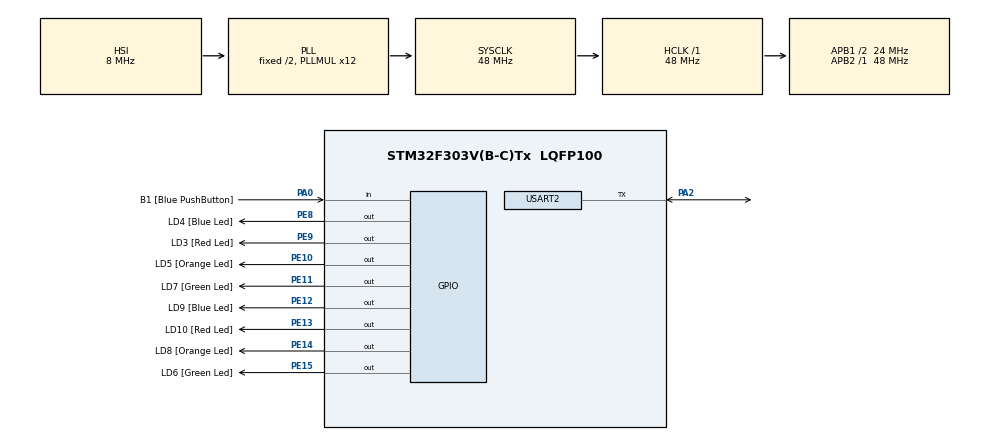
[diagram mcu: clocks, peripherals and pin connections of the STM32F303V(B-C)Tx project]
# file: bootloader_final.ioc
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Mcu.Family=STM32F3
Mcu.Name=STM32F303V(B-C)Tx
Mcu.Package=LQFP100
NVIC.PriorityGroup=NVIC_PRIORITYGROUP_0
NVIC.USART2_IRQn=true\:0\:0\:false\:false\:true\:true
PA0.GPIO_Label=B1 [Blue PushButton]
PA0.GPIO_Mode=GPIO_MODE_INPUT
PA0.GPIO_PuPd=GPIO_NOPULL
PA0.Signal=GPIO_Input
PA11.GPIO_Label=DM
PA11.Signal=USB_DM
PA12.GPIO_Label=DP
PA12.Signal=USB_DP
PA13.GPIO_Label=SWDIO
PA13.Signal=SYS_JTMS-SWDIO
PA14.GPIO_Label=SWCLK
PA14.Signal=SYS_JTCK-SWCLK
PA2.Mode=Half_duplex(single_wire_mode)
PA2.Signal=USART2_TX
PB3.GPIO_Label=SWO
PB3.Signal=SYS_JTDO-TRACESWO
PC14-OSC32_IN.GPIO_Label=OSC32_IN
PC14-OSC32_IN.Signal=RCC_OSC32_IN
PC15-OSC32_OUT.GPIO_Label=OSC32_OUT
PC15-OSC32_OUT.Signal=RCC_OSC32_OUT
PE10.GPIO_Label=LD5 [Orange Led]
PE10.GPIO_ModeDefaultOutputPP=GPIO_MODE_OUTPUT_PP
PE10.GPIO_PuPd=GPIO_NOPULL
PE10.GPIO_Speed=GPIO_SPEED_FREQ_LOW
PE10.Signal=GPIO_Output
PE11.GPIO_Label=LD7 [Green Led]
PE11.GPIO_ModeDefaultOutputPP=GPIO_MODE_OUTPUT_PP
PE11.GPIO_PuPd=GPIO_NOPULL
PE11.GPIO_Speed=GPIO_SPEED_FREQ_LOW
PE11.Signal=GPIO_Output
PE12.GPIO_Label=LD9 [Blue Led]
PE12.GPIO_ModeDefaultOutputPP=GPIO_MODE_OUTPUT_PP
PE12.GPIO_PuPd=GPIO_NOPULL
PE12.GPIO_Speed=GPIO_SPEED_FREQ_LOW
PE12.Signal=GPIO_Output
PE13.GPIO_Label=LD10 [Red Led]
PE13.GPIO_ModeDefaultOutputPP=GPIO_MODE_OUTPUT_PP
PE13.GPIO_PuPd=GPIO_NOPULL
PE13.GPIO_Speed=GPIO_SPEED_FREQ_LOW
PE13.Signal=GPIO_Output
PE14.GPIO_Label=LD8 [Orange Led]
PE14.GPIO_ModeDefaultOutputPP=GPIO_MODE_OUTPUT_PP
PE14.GPIO_PuPd=GPIO_NOPULL
PE14.GPIO_Speed=GPIO_SPEED_FREQ_LOW
PE14.Signal=GPIO_Output
PE15.GPIO_Label=LD6 [Green Led]
PE15.GPIO_ModeDefaultOutputPP=GPIO_MODE_OUTPUT_PP
PE15.GPIO_PuPd=GPIO_NOPULL
PE15.GPIO_Speed=GPIO_SPEED_FREQ_LOW
PE15.Signal=GPIO_Output
PE8.GPIO_Label=LD4 [Blue Led]
PE8.GPIO_ModeDefaultOutputPP=GPIO_MODE_OUTPUT_PP
PE8.GPIO_PuPd=GPIO_NOPULL
PE8.GPIO_Speed=GPIO_SPEED_FREQ_LOW
PE8.Signal=GPIO_Output
PE9.GPIO_Label=LD3 [Red Led]
PE9.GPIO_ModeDefaultOutputPP=GPIO_MODE_OUTPUT_PP
PE9.GPIO_PuPd=GPIO_NOPULL
PE9.GPIO_Speed=GPIO_SPEED_FREQ_LOW
PE9.Signal=GPIO_Output
PF0-OSC_IN.GPIO_Label=OSC_IN
PF0-OSC_IN.Signal=RCC_OSC_IN
PF1-OSC_OUT.GPIO_Label=OSC_OUT
PF1-OSC_OUT.Signal=RCC_OSC_OUT
ProjectManager.HeapSize=0x200
ProjectManager.StackSize=0x400
ProjectManager.TargetToolchain=SW4STM32
RCC.AHBFreq_Value=48000000
RCC.APB1CLKDivider=RCC_HCLK_DIV2
RCC.APB1Freq_Value=24000000
RCC.APB1TimFreq_Value=48000000
RCC.APB2Freq_Value=48000000
RCC.APB2TimFreq_Value=48000000
RCC.CortexFreq_Value=48000000
RCC.HCLKFreq_Value=48000000
RCC.HSE_VALUE=8000000
RCC.HSI_VALUE=8000000
RCC.LSE_VALUE=32768
RCC.PLLMUL=RCC_PLL_MUL12
RCC.SYSCLKFreq_VALUE=48000000
RCC.SYSCLKSourceVirtual=RCC_SYSCLKSOURCE_PLLCLK
RCC.USBFreq_Value=48000000
USART2.BaudRate=57600
USART2.VirtualMode-Half_duplex(single_wire_mode)=VM_ASYNC
board=STM32F3DISCOVERY

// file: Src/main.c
/**
  ******************************************************************************
  * @file           : main.c
  * @brief          : Main program body
  ******************************************************************************
  ** This notice applies to any and all portions of this file
  * that are not between comment pairs USER CODE BEGIN and
  * USER CODE END. Other portions of this file, whether
  * inserted by the user or by software development tools
  * are owned by their respective copyright owners.
  *
  * COPYRIGHT(c) 2018 STMicroelectronics
  *
  * Redistribution and use in source and binary forms, with or without modification,
  * are permitted provided that the following conditions are met:
  *   1. Redistributions of source code must retain the above copyright notice,
  *      this list of conditions and the following disclaimer.
  *   2. Redistributions in binary form must reproduce the above copyright notice,
  *      this list of conditions and the following disclaimer in the documentation
  *      and/or other materials provided with the distribution.
  *   3. Neither the name of STMicroelectronics nor the names of its contributors
  *      may be used to endorse or promote products derived from this software
  *      without specific prior written permission.
  *
  * THIS SOFTWARE IS PROVIDED BY THE COPYRIGHT HOLDERS AND CONTRIBUTORS "AS IS"
  * AND ANY EXPRESS OR IMPLIED WARRANTIES, INCLUDING, BUT NOT LIMITED TO, THE
  * IMPLIED WARRANTIES OF MERCHANTABILITY AND FITNESS FOR A PARTICULAR PURPOSE ARE
  * DISCLAIMED. IN NO EVENT SHALL THE COPYRIGHT HOLDER OR CONTRIBUTORS BE LIABLE
  * FOR ANY DIRECT, INDIRECT, INCIDENTAL, SPECIAL, EXEMPLARY, OR CONSEQUENTIAL
  * DAMAGES (INCLUDING, BUT NOT LIMITED TO, PROCUREMENT OF SUBSTITUTE GOODS OR
  * SERVICES; LOSS OF USE, DATA, OR PROFITS; OR BUSINESS INTERRUPTION) HOWEVER
  * CAUSED AND ON ANY THEORY OF LIABILITY, WHETHER IN CONTRACT, STRICT LIABILITY,
  * OR TORT (INCLUDING NEGLIGENCE OR OTHERWISE) ARISING IN ANY WAY OUT OF THE USE
  * OF THIS SOFTWARE, EVEN IF ADVISED OF THE POSSIBILITY OF SUCH DAMAGE.
  *
  ******************************************************************************
  */
#include "main.h"
#include "stm32f3xx_hal.h"
#include "usart.h"
#include "gpio.h"

/* USER CODE BEGIN Includes */
#define UART_CR1_FIELDS  ((uint32_t)(USART_CR1_M | USART_CR1_PCE | USART_CR1_PS | \
                                     USART_CR1_TE | USART_CR1_RE | USART_CR1_OVER8))
/* USER CODE END Includes */

/* USER CODE BEGIN PV */
/* Private variables ---------------------------------------------------------*/
UART_HandleTypeDef huart2;
typedef  void (*pFunction)(void);
pFunction Jump_To_Application;
uint32_t JumpAddress;
int nu_bytes=0,state=0;
char i_byte;
uint32_t buffer[256],address=0;
int n_page=0;
#define USER_FLASH_LAST_PAGE_ADDRESS  0x0803F800
#define USER_FLASH_END_ADDRESS        0x0803FFFF /* 256 KBytes */
#define FLASH_PAGE_SIZE               0x800      /* 2 Kbytes */
#define APPLICATION_ADDRESS     (uint32_t)0x08003000
/* USER CODE END PV */

void SystemClock_Config(void);

/* USER CODE BEGIN PFP */
/* Private function prototypes -----------------------------------------------*/
HAL_StatusTypeDef tx_char(UART_HandleTypeDef*,char*);//put the byte into tx ring buffer
HAL_StatusTypeDef rx_char(UART_HandleTypeDef*,char*);//get byte from rx ring buffer
HAL_StatusTypeDef UART_T_IT(UART_HandleTypeDef *huart);//interrupt handler for tx
HAL_StatusTypeDef UART_R_IT(UART_HandleTypeDef *huart);//interrupt handler for rx
int uart_count_rx(UART_HandleTypeDef *huart);//return the no of byte in tx ring buffer
int uart_count_tx(UART_HandleTypeDef *huart);//return the no of byte in rx ring buffer
/* USER CODE END PFP */

int main(void)
{

  /* MCU Configuration----------------------------------------------------------*/

  /* Reset of all peripherals, Initializes the Flash interface and the Systick. */
  HAL_Init();

  /* Configure the system clock */
  SystemClock_Config();

  /* Initialize all configured peripherals */
  MX_GPIO_Init();
  MX_USART2_UART_Init();
  int status_input=0;
  char test_byte[2]="up";
  tx_char(&huart2,&test_byte[0]);
  tx_char(&huart2,&test_byte[1]);
  HAL_Delay(5000);
  int re_count=uart_count_rx(&huart2);
  if(re_count){
	  char rec_byte;
	  rx_char(&huart2,&rec_byte);
	  if(rec_byte=='u'&& uart_count_rx(&huart2))
	  {
		rx_char(&huart2,&rec_byte);
		if(rec_byte=='p')
		{
		  HAL_GPIO_WritePin(GPIOE,LD6_Pin,GPIO_PIN_SET);
		  status_input=1;
		}
		else
		{
		  HAL_GPIO_WritePin(GPIOE,LD6_Pin,GPIO_PIN_RESET);
		}
	  }
	  else
	  {
		  HAL_GPIO_WritePin(GPIOE,LD6_Pin,GPIO_PIN_RESET);
	  }
  }
  else
  {
	  HAL_GPIO_WritePin(GPIOE,LD6_Pin,GPIO_PIN_RESET);
  }
  /* USER CODE BEGIN 2 */
  uint32_t flashaddress = 0x8003000;

      //HAL_GPIO_WritePin(GPIOE,LD4_Pin,status_input);
      if (status_input==1)
      {
    	  //in bootloader mode
      }
      else
      {
    	  //switch to application mode
    	  if (((*(__IO uint32_t*)APPLICATION_ADDRESS) & 0x2FFE0000 ) == 0x20000000)
    	      {
    	        /* Jump to user application */
    		    uint32_t * jadd=(APPLICATION_ADDRESS + 4);
    	        JumpAddress = *jadd ;
    	        Jump_To_Application = (pFunction) JumpAddress;

    	        /* Initialize user application's Stack Pointer */
    	        __set_MSP(*(__IO uint32_t*) APPLICATION_ADDRESS);

    	        /* Jump to application */
    	        Jump_To_Application();
    	      }
      }
      FLASH_EraseInitTypeDef erpage;
          erpage.TypeErase=FLASH_TYPEERASE_PAGES;
          erpage.NbPages=1;
  /* USER CODE END 2 */

  /* Infinite loop */
  /* USER CODE BEGIN WHILE */
  while (1)
  {
	  int nu=uart_count_rx(&huart2);

	  	  	   while(nu)
	  	  	   {
	  	  		   rx_char(&huart2,&i_byte);
	  	  		   switch(state){
	  	  		   case 0:
	  	  			   	   state=(i_byte==255)?1:0;
	  	  			   	   break;
	  	  		   case 1:
	  	  			       state=(i_byte==255)?2:0;
	  	  			 	   break;
	  	  		   case 2:
	  	  			       state=(i_byte==255)?3:0;
	  	  			 	   break;
	  	  		   case 3:
	  	  			 	   state=(i_byte==255)?4:0;
	  	  			 	   address=0;
	  	  			 	   nu_bytes=0;
	  	  			 	   break;
	  	  		   case 4:

	  	  			      if(nu_bytes<4)
	  	  			      {
	  	  			    	address+=i_byte<<(nu_bytes*8);
	  	  			      }
	  	  			      else{
	  	  			    	buffer[nu_bytes-4]=i_byte;
	  	  			      }
	  	  			      nu_bytes++;
	  	  			      state=(nu_bytes==260)?0:4;
	  	  			      if (nu_bytes==260)
	  	  			    		   {

	  	  			    	         int n_page=2;
	  	  			    	         int flag_er=0;

	  	  			    	             HAL_FLASH_Unlock();
	  	  			    	             if(address%2048==0){
	  	  			    	             uint32_t page_error;
	  	  			    	             erpage.PageAddress=address;
	  	  			    	             HAL_FLASHEx_Erase(&erpage,&page_error);
	  	  			    	             HAL_Delay(10);
	  	  			    	             }
	  									 for(int k=0;k<64;k++)
	  									 {
	  										 uint32_t data=((buffer[k*4+3])<<24&0xff000000)+(buffer[k*4+2]<<16&0xff0000)+(buffer[k*4+1]<<8&0xff00)+buffer[k*4];
	  										 int status=HAL_ERROR;

	  											 status=HAL_FLASH_Program(FLASH_TYPEPROGRAM_WORD,(address+k*4),data);

	  											 if(status!=HAL_OK)
	  										     HAL_Delay(10);

	  	  			    	  	    }
	  							    HAL_FLASH_Lock();

	  	  			    	  	    if(!flag_er){
	  	  			    	  	  	char o[2]="ok";
	  	  			    	  	    tx_char(&huart2,&o[0]);
	  	  			    	  	    tx_char(&huart2,&o[1]);
	  	  			    	  	    }
	  	  			    	  	    else
	  	  			    	  	    {
	  	  			    	  	    char o[2]="fa";
	  	  			    	  	    tx_char(&huart2,&o[0]);
	  	  			    	  	    tx_char(&huart2,&o[1]);
	  	  			    	  	    }
	  	  			    	  	    nu_bytes=0;
	  	  			    		   }
	  	  			       break;
	  	  		   }
	  	  		   nu--;
	  	  	   }
  /* USER CODE END WHILE */

  }

}

void SystemClock_Config(void)
{

  RCC_OscInitTypeDef RCC_OscInitStruct;
  RCC_ClkInitTypeDef RCC_ClkInitStruct;
  RCC_PeriphCLKInitTypeDef PeriphClkInit;

    /**Initializes the CPU, AHB and APB busses clocks
    */
  RCC_OscInitStruct.OscillatorType = RCC_OSCILLATORTYPE_HSI;
  RCC_OscInitStruct.HSIState = RCC_HSI_ON;
  RCC_OscInitStruct.HSICalibrationValue = 16;
  RCC_OscInitStruct.PLL.PLLState = RCC_PLL_ON;
  RCC_OscInitStruct.PLL.PLLSource = RCC_PLLSOURCE_HSI;
  RCC_OscInitStruct.PLL.PLLMUL = RCC_PLL_MUL12;
  if (HAL_RCC_OscConfig(&RCC_OscInitStruct) != HAL_OK)
  {
    _Error_Handler(__FILE__, __LINE__);
  }

    /**Initializes the CPU, AHB and APB busses clocks
    */
  RCC_ClkInitStruct.ClockType = RCC_CLOCKTYPE_HCLK|RCC_CLOCKTYPE_SYSCLK
                              |RCC_CLOCKTYPE_PCLK1|RCC_CLOCKTYPE_PCLK2;
  RCC_ClkInitStruct.SYSCLKSource = RCC_SYSCLKSOURCE_PLLCLK;
  RCC_ClkInitStruct.AHBCLKDivider = RCC_SYSCLK_DIV1;
  RCC_ClkInitStruct.APB1CLKDivider = RCC_HCLK_DIV2;
  RCC_ClkInitStruct.APB2CLKDivider = RCC_HCLK_DIV1;

  if (HAL_RCC_ClockConfig(&RCC_ClkInitStruct, FLASH_LATENCY_1) != HAL_OK)
  {
    _Error_Handler(__FILE__, __LINE__);
  }

  PeriphClkInit.PeriphClockSelection = RCC_PERIPHCLK_USART2;
  PeriphClkInit.Usart2ClockSelection = RCC_USART2CLKSOURCE_PCLK1;
  if (HAL_RCCEx_PeriphCLKConfig(&PeriphClkInit) != HAL_OK)
  {
    _Error_Handler(__FILE__, __LINE__);
  }

    /**Configure the Systick interrupt time
    */
  HAL_SYSTICK_Config(HAL_RCC_GetHCLKFreq()/1000);

    /**Configure the Systick
    */
  HAL_SYSTICK_CLKSourceConfig(SYSTICK_CLKSOURCE_HCLK);

  /* SysTick_IRQn interrupt configuration */
  HAL_NVIC_SetPriority(SysTick_IRQn, 0, 0);
}

/* USER CODE BEGIN 4 */
int uart_count_rx(UART_HandleTypeDef *huart)
{
	return (unsigned int)(buffer_size + huart->Ring_head_rx - huart->Ring_tail_rx) % buffer_size;
}
int uart_count_tx(UART_HandleTypeDef *huart)
{
	return (unsigned int)(buffer_size + huart->Ring_head_tx - huart->Ring_tail_tx) % buffer_size;
}
HAL_StatusTypeDef rx_char(UART_HandleTypeDef *huart,char *a)
{
	if( uart_count_rx(huart)>0)
		__HAL_UART_ENABLE_IT(huart, UART_IT_RXNE);
	if (huart->Ring_head_rx == huart->Ring_tail_rx) {

			if(huart->gState == HAL_UART_STATE_BUSY_TX)
			      {
			        huart->gState = HAL_UART_STATE_BUSY_TX_RX;
			      }
			      else
			      {
			        /* Disable the UART Parity Error Interrupt */
			        __HAL_UART_ENABLE_IT(huart, UART_IT_PE);

			        /* Disable the UART Error Interrupt: (Frame error, noise error, overrun error) */
			        __HAL_UART_ENABLE_IT(huart, UART_IT_ERR);

			        huart->gState = HAL_UART_STATE_BUSY_RX;
			      }
			return HAL_ERROR;
			} else {
			*a = huart->Ring_buffer_rx[huart->Ring_tail_rx];
			 huart->Ring_tail_rx= (uint8_t)(huart->Ring_tail_rx+ 1) % buffer_size;
			return HAL_OK;
}
}
HAL_StatusTypeDef tx_char(UART_HandleTypeDef *huart,char *a)
{
	  /* Process Locked */
	__HAL_LOCK(huart);
		int i = (huart->Ring_head_tx + 1) % buffer_size;
		 if(i == huart->Ring_tail_tx)
		 {
			  /* Process Unlocked */
			 __HAL_UNLOCK(huart);
			 return HAL_ERROR;
		 }
		 huart->Ring_buffer_tx[huart->Ring_head_tx]=*a;
		 huart->Ring_head_tx = i;
		 if(huart->gState == HAL_UART_STATE_BUSY_RX)
		     {
		       huart->gState = HAL_UART_STATE_BUSY_TX_RX;
		     }
		     else
		     {
		       huart->gState = HAL_UART_STATE_BUSY_TX;
		     }
		  /* Process Unlocked */
		 __HAL_UNLOCK(huart);
		 /* Enable the UART Transmit Data Register Empty Interrupt */
		 __HAL_UART_ENABLE_IT(huart, UART_IT_TXE);
		 if(huart->Instance==USART2)
		 {
			 uint32_t tmpreg                     = 0x00000000;
			 		 huart2.Init.Mode = UART_MODE_TX;
			 		 tmpreg = (uint32_t)huart->Init.WordLength | huart->Init.Parity | huart->Init.Mode | huart->Init.OverSampling ;
			 		 MODIFY_REG(huart->Instance->CR1, UART_CR1_FIELDS, tmpreg);
			 		// HAL_Delay(1);
		 }
	return HAL_OK;
}
HAL_StatusTypeDef UART_T_IT(UART_HandleTypeDef *huart)
{

  if ((huart->gState == HAL_UART_STATE_BUSY_TX) || (huart->gState == HAL_UART_STATE_BUSY_TX_RX))
  {

    if(huart->Ring_head_tx == huart->Ring_tail_tx)
    {
      /* Disable the UART Transmit Data Register Empty Interrupt */
      __HAL_UART_DISABLE_IT(huart, UART_IT_TXE);

      /* Enable the UART Transmit Complete Interrupt */
      __HAL_UART_ENABLE_IT(huart, UART_IT_TC);
      //HAL_UART_TxCpltCallback(&huart);

      return HAL_OK;
    }
    else
    {

        huart->Instance->TDR = (uint8_t)(huart->Ring_buffer_tx[huart->Ring_tail_tx ] & (uint8_t)0xFF);

        huart->Ring_tail_tx = (huart->Ring_tail_tx + 1) % buffer_size;

      return HAL_OK;
    }
  }
  else
  {
    return HAL_BUSY;
  }
}
void HAL_UART_TxCpltCallback(UART_HandleTypeDef *huart)
{
	if(huart->Ring_head_tx == huart->Ring_tail_tx)
	    {
	      /* Disable the UART Transmit Data Register Empty Interrupt */
	      __HAL_UART_DISABLE_IT(huart, UART_IT_TXE);

	      /* Enable the UART Transmit Complete Interrupt */
	      __HAL_UART_DISABLE_IT(huart, UART_IT_TC);
	      if(huart->Instance==USART2)
	            		 {
	            			 uint32_t tmpreg                     = 0x00000000;
	            			 		 huart2.Init.Mode = UART_MODE_RX;
	            			 		 tmpreg = (uint32_t)huart->Init.WordLength | huart->Init.Parity | huart->Init.Mode | huart->Init.OverSampling ;
	            			 		 MODIFY_REG(huart->Instance->CR1, UART_CR1_FIELDS, tmpreg);
	            			 		// HAL_Delay(1);
	            		 }
	    }
	else
		__HAL_UART_ENABLE_IT(huart, UART_IT_TXE);
}
HAL_StatusTypeDef UART_R_IT(UART_HandleTypeDef *huart)
{

	  uint16_t uhMask = huart->Mask;
	  //HAL_GPIO_TogglePin(GPIOC, LD4_Pin);
	  //if((huart->State == HAL_UART_STATE_BUSY_RX) || (huart->State == HAL_UART_STATE_BUSY_TX_RX))
	  //{
		  int i = (unsigned int)(huart->Ring_head_rx + 1) % buffer_size;

	      		if (i != huart->Ring_tail_rx)
	      		{
	      			huart->Ring_buffer_rx[huart->Ring_head_rx] = (uint8_t)(huart->Instance->RDR );
	      			huart->Ring_head_rx = i;
	      		}

	    if(huart->Ring_head_rx == huart->Ring_tail_rx)
	    {
	      __HAL_UART_DISABLE_IT(huart, UART_IT_RXNE);

	      /* Check if a transmit Process is ongoing or not */
	      if(huart->gState == HAL_UART_STATE_BUSY_TX_RX)
	      {
	        huart->gState = HAL_UART_STATE_BUSY_TX;
	      }
	      else
	      {
	        /* Disable the UART Parity Error Interrupt */
	        __HAL_UART_DISABLE_IT(huart, UART_IT_PE);

	        /* Disable the UART Error Interrupt: (Frame error, noise error, overrun error) */
	        __HAL_UART_DISABLE_IT(huart, UART_IT_ERR);

	        huart->gState = HAL_UART_STATE_READY;
	      }

	      //HAL_UART_RxCpltCallback(huart);

	      return HAL_OK;
	    }

	    return HAL_OK;
	  //}
	  //else
	  //{
	    //return HAL_BUSY;
	  //}
}
/* USER CODE END 4 */

void _Error_Handler(char *file, int line)
{
  while(1)
  {
  }
}

/************************ (C) COPYRIGHT STMicroelectronics *****END OF FILE****/
